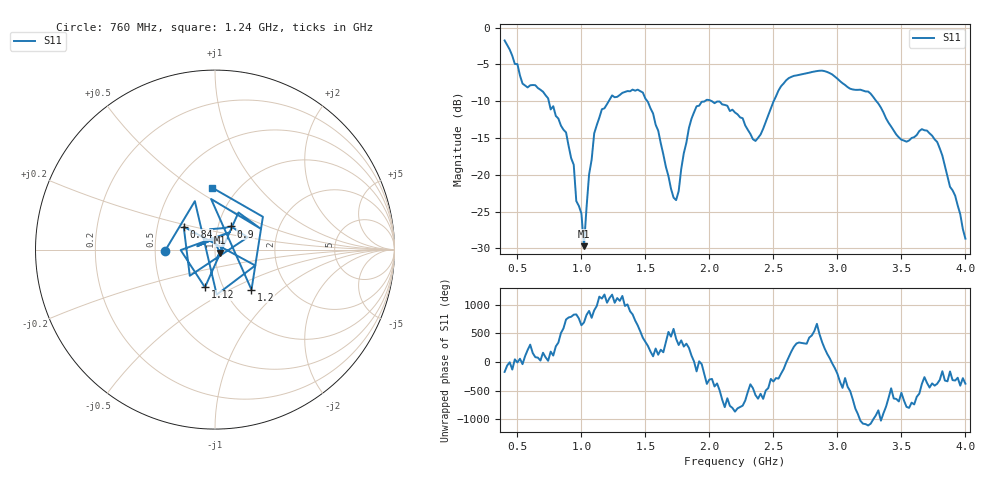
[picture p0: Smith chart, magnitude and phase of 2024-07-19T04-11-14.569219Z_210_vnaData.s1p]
!Created with skrf (http://scikit-rf.org).
# Hz S RI R 50.0
!freq ReS11 ImS11
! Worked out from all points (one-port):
!   181 points, 400 MHz to 4 GHz, reference 50 ohm
!   lowest |S11| = -29.7 dB at 1.02 GHz (marker M1), VSWR 1.07, Z = 52.8 - j1.82 ohm
!   |S11| at or under -10 dB: 745.2 MHz to 1.213 GHz (468.2 MHz wide, 47.8 % of centre); 2.019 GHz to 2.502 GHz (482.7 MHz wide, 21.4 % of centre); 3.305 GHz to end of sweep (the widest 3 of 4)
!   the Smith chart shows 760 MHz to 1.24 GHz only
!   S11 on the Smith chart (normalised r, x): 760 MHz: 0.56, -0.01; 840 MHz: 0.68, +0.18; 900 MHz: 1.15, +0.31; 1.12 GHz: 0.82, -0.36; 1.2 GHz: 1.33, -0.65; 1.24 GHz: 0.76, +0.60
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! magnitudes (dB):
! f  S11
! 400 MHz  -1.8
! 540 MHz  -7.6
! 760 MHz  -11.1
! 840 MHz  -13.3
! 860 MHz  -13.9
! 900 MHz  -16.1
! 940 MHz  -18.6
! 960 MHz  -23.6
! 1 GHz  -25.2
! 1.02 GHz  -29.7
! 1.06 GHz  -19.9
! 1.12 GHz  -13.3
! 1.2 GHz  -10.4
! 1.24 GHz  -9.2
! 1.3 GHz  -9.2
! 1.48 GHz  -8.8
! 1.6 GHz  -14.0
! 1.72 GHz  -23.1
! 1.76 GHz  -22.2
! 1.84 GHz  -13.6
! 1.9 GHz  -10.7
! 2.2 GHz  -11.5
! 2.36 GHz  -15.4
! 2.66 GHz  -6.6
! 3.1 GHz  -8.3
! 3.56 GHz  -15.3
! 3.78 GHz  -15.5
! 4 GHz  -28.7
